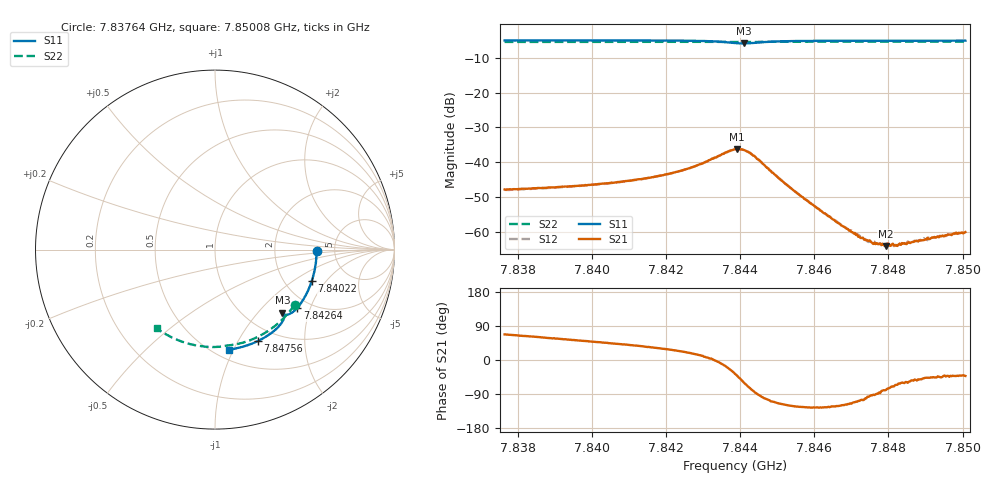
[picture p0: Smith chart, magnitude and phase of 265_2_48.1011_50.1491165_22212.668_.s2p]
#  HZ  S  RI  R  50.00
! Rohde & Schwarz Vector Network Analyzer
! Rohde-Schwarz,ZNB20-2Port,1311601062101988,3.16
! Created: UTC 12/23/2023, 4:01:11 AM
! freq[Hz]  re:S11  im:S11  re:S21  im:S21  re:S12  im:S12  re:S22  im:S22
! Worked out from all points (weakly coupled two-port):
!   401 points, 7.83764 GHz to 7.85008 GHz, reference 50 ohm
!   highest |S21| = -36.22 dB at 7.84392 GHz (marker M1); lowest = -64.2 dB at 7.84793 GHz (marker M2)
!   lowest |S11| = -5.8 dB at 7.84411 GHz (marker M3), VSWR 3.11, Z = 71.7 - j68.3 ohm
!   |S11| at or under -10 dB: nowhere
!   |S22| runs from -5.4 to -5.3 dB; largest |S21 - S12| = 0.00034
!   S11 on the Smith chart (normalised r, x): 7.83764 GHz: 3.61, -0.07; 7.84022 GHz: 2.78, -1.45; 7.84264 GHz: 1.71, -1.63; 7.84756 GHz: 0.81, -1.21; 7.85008 GHz: 0.59, -0.96
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7.837636e9  0.5664 -0.00634  0.00155 0.00374  0.00157 0.00367  0.4438 -0.3074
7.83972e9  0.5485 -0.1438  0.00292 0.00357  0.00289 0.00354  0.3457 -0.4155
7.840217e9  0.5388 -0.1762  0.00332 0.00355  0.00329 0.0035  0.3182 -0.4372
7.841804e9  0.4937 -0.2753  0.00543 0.00329  0.00538 0.00328  0.2224 -0.4935
7.842643e9  0.4577 -0.3249  0.00781 0.00259  0.0078 0.00264  0.1674 -0.515
7.84339e9  0.4105 -0.3609  0.0121 -0.00096  0.0121 -0.000849  0.1165 -0.5279
7.843856e9  0.3769 -0.3591  0.0124 -0.00917  0.0123 -0.00896  0.0853 -0.5324
7.843919e9  0.3749 -0.3566  0.0115 -0.0103  0.0114 -0.0103  0.0814 -0.5328
7.844105e9  0.3751 -0.3508  0.00732 -0.013  0.00743 -0.013  0.0698 -0.5344
7.844416e9  0.3847 -0.3584  0.000607 -0.0117  0.00061 -0.0119  0.0497 -0.5381
7.845225e9  0.3679 -0.4132  -0.0023 -0.00424  -0.0023 -0.00426  -0.00698 -0.5427
7.84594e9  0.3318 -0.4506  -0.00145 -0.00201  -0.00143 -0.00198  -0.0575 -0.5404
7.846905e9  0.2769 -0.4892  -0.000476 -0.000971  -0.000494 -0.000969  -0.1245 -0.53
7.847185e9  0.2604 -0.4985  -0.000261 -0.000799  -0.000301 -0.000848  -0.1436 -0.5252
7.847433e9  0.2454 -0.5064  -8.74e-05 -0.000741  -0.000123 -0.000708  -0.1605 -0.5205
7.847558e9  0.2377 -0.5101  -4.17e-05 -0.000685  -5.17e-05 -0.000715  -0.1687 -0.5179
7.847776e9  0.2243 -0.5162  3.26e-05 -0.000675  9e-05 -0.000666  -0.1833 -0.513
7.847931e9  0.2147 -0.5204  0.000115 -0.000608  0.000133 -0.000648  -0.1936 -0.5094
7.848024e9  0.2089 -0.5227  0.000173 -0.000605  0.000164 -0.000628  -0.1997 -0.5071
7.848273e9  0.1933 -0.5287  0.000306 -0.000572  0.000281 -0.000589  -0.2159 -0.5005
7.849144e9  0.1377 -0.5458  0.000559 -0.000575  0.000526 -0.000564  -0.2707 -0.4738
7.850077e9  0.0767 -0.5575  0.000729 -0.000659  0.000707 -0.000685  -0.3256 -0.4384
